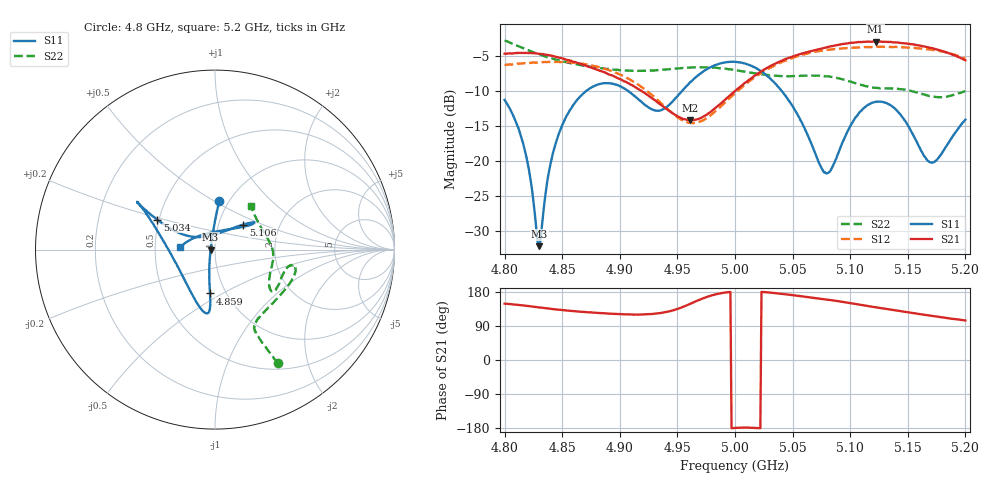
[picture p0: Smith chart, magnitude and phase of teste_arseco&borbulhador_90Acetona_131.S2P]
! Network Analyzer HP8722D
! Hewlett-Packard
! Data name: Linha & Wilkinson
! Saver's name: Rodrigo Anjos
! Comments: Teste da utilização de aquisição
! continua pelo VNA HP8722D
! Time and date: 17/4/2025 12:08
!  Frequency  S11  S21  S12  S22
# HZ  S  MA R 50
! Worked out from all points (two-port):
!   401 points, 4.8 GHz to 5.2 GHz, reference 50 ohm
!   highest |S21| = -2.98 dB at 5.122 GHz (marker M1); lowest = -14.2 dB at 4.961 GHz (marker M2)
!   |S21| within 3 dB of the highest: start of sweep to 4.862 GHz; 5.037 GHz to end of sweep
!   lowest |S11| = -32.2 dB at 4.83 GHz (marker M3), VSWR 1.05, Z = 47.6 + j0.0503 ohm
!   |S11| at or under -10 dB: start of sweep to 4.871 GHz; 4.907 GHz to 4.954 GHz (47.23 MHz wide, 0.958 % of centre); 5.04 GHz to end of sweep
!   |S22| runs from -10.9 to -2.8 dB; largest |S21 - S12| = 1.3
!   S11 on the Smith chart (normalised r, x): 4.8 GHz: 0.90, +0.53; 4.859 GHz: 0.84, -0.44; 5.034 GHz: 0.49, +0.19; 5.106 GHz: 1.31, +0.38; 5.2 GHz: 0.67, +0.02
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4.8e9  0.2721 85.1  0.5817 148.6  0.4833 -112.6  0.7222 -61.1
4.817e9  0.1242 93.2  0.5897 143.5  0.4961 -112.2  0.6315 -62.3
4.822e9  0.0783 100.9  0.5871 141.9  0.4991 -112.0  0.6082 -62.6
4.828e9  0.03006 138.0  0.5836 139.7  0.5019 -111.6  0.5822 -63.1
4.83e9  0.02466 178.8  0.581 138.7  0.5042 -111.3  0.5735 -63.2
4.842e9  0.1142 -106.5  0.5591 134.2  0.5078 -110.9  0.535 -63.7
4.859e9  0.2461 -96.6  0.5108 129.0  0.5019 -111.0  0.4949 -63.7
4.867e9  0.2949 -95.0  0.4877 127.0  0.4926 -111.1  0.4809 -62.9
4.898e9  0.3465 -101.8  0.3894 121.4  0.4202 -114.6  0.4463 -53.9
4.934e9  0.2285 -155.4  0.2569 123.2  0.2675 -115.0  0.4442 -33.7
4.961e9  0.363 158.7  0.1949 148.0  0.1866 -89.1  0.4634 -19.8
5e9  0.5088 148.5  0.3146 -179.4  0.3043 -49.6  0.4438 -11.3
5.034e9  0.363 152.5  0.4897 176.6  0.4764 -45.9  0.4057 -17.6
5.052e9  0.23 155.1  0.5627 170.2  0.5492 -47.5  0.4029 -25.2
5.067e9  0.1283 146.9  0.6096 164.6  0.5945 -49.7  0.4055 -31.7
5.075e9  0.0893 125.6  0.6323 161.5  0.6094 -51.3  0.404 -34.3
5.081e9  0.0823 96.9  0.6496 159.0  0.6192 -52.5  0.401 -35.6
5.106e9  0.2099 41.4  0.7017 147.0  0.6436 -58.3  0.3546 -32.0
5.122e9  0.2633 35.1  0.7099 139.1  0.6483 -62.9  0.3315 -20.6
5.134e9  0.2521 34.3  0.704 133.5  0.649 -67.1  0.3286 -10.9
5.17e9  0.09744 98.7  0.6382 116.7  0.6209 -79.6  0.2889 19.8
5.2e9  0.1968 175.6  0.5216 104.3  0.5357 -89.5  0.3138 50.4
